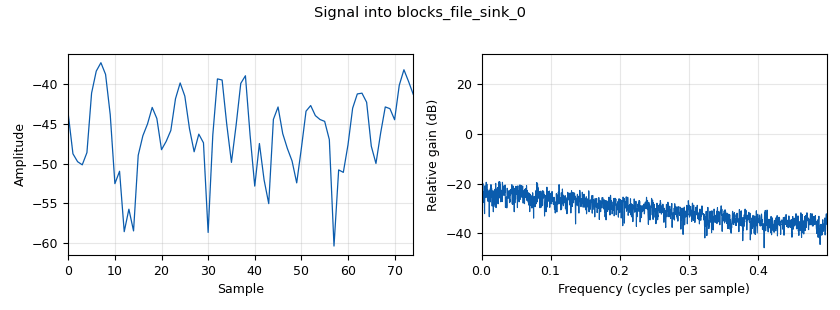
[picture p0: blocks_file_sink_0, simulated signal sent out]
<?xml version='1.0' encoding='utf-8'?>
<?grc format='1' created='3.7.13'?>
<flow_graph>
<block>
<key>options</key>
<param><key>id</key><value>subsistemaRFI</value></param>
<param><key>author</key><value>Luis Miguel Diaz</value></param>
<param><key>description</key><value>Este modulo se encarga de adquirir las senales del espectro</value></param>
<param><key>generate_options</key><value>no_gui</value></param>
<param><key>title</key><value>Adquisicion de datos del espectro</value></param>
</block>
<block>
<key>variable</key>
<param><key>id</key><value>frec_central</value></param>
<param><key>value</key><value>0</value></param>
</block>
<block>
<key>variable</key>
<param><key>id</key><value>ganancia</value></param>
<param><key>value</key><value>0.2</value></param>
</block>
<block>
<key>variable</key>
<param><key>id</key><value>nfft</value></param>
<param><key>value</key><value>1024</value></param>
</block>
<block>
<key>variable</key>
<param><key>id</key><value>samp_rate</value></param>
<param><key>value</key><value>32000</value></param>
</block>
<block>
<key>analog_noise_source_x</key>
<param><key>id</key><value>analog_noise_source_x_0</value></param>
<param><key>amp</key><value>ganancia</value></param>
<param><key>noise_type</key><value>analog.GR_GAUSSIAN</value></param>
<param><key>type</key><value>complex</value></param>
<param><key>seed</key><value>0</value></param>
</block>
<block>
<key>analog_sig_source_x</key>
<param><key>id</key><value>analog_sig_source_x_0</value></param>
<param><key>amp</key><value>1</value></param>
<param><key>freq</key><value>10000</value></param>
<param><key>offset</key><value>0</value></param>
<param><key>type</key><value>complex</value></param>
<param><key>samp_rate</key><value>samp_rate</value></param>
<param><key>waveform</key><value>analog.GR_COS_WAVE</value></param>
</block>
<block>
<key>blocks_add_xx</key>
<param><key>id</key><value>blocks_add_xx_0</value></param>
<param><key>type</key><value>complex</value></param>
</block>
<block>
<key>blocks_file_sink</key>
<param><key>id</key><value>blocks_file_sink_0</value></param>
<param><key>file</key><value>/home/uis-e3t/back_centrotic/CentroTIC/Modulos_aplicaciones/radioastronomia/subsistema_RFI/espectro</value></param>
<param><key>type</key><value>float</value></param>
<param><key>vlen</key><value>nfft</value></param>
</block>
<block>
<key>logpwrfft_x</key>
<param><key>id</key><value>logpwrfft_x_0</value></param>
<param><key>avg_alpha</key><value>1.0</value></param>
<param><key>average</key><value>False</value></param>
<param><key>fft_size</key><value>nfft</value></param>
<param><key>frame_rate</key><value>30</value></param>
<param><key>type</key><value>complex</value></param>
<param><key>ref_scale</key><value>2</value></param>
<param><key>sample_rate</key><value>samp_rate</value></param>
</block>
<connection><source_block_id>analog_noise_source_x_0</source_block_id><sink_block_id>blocks_add_xx_0</sink_block_id><source_key>0</source_key><sink_key>1</sink_key></connection>
<connection><source_block_id>analog_sig_source_x_0</source_block_id><sink_block_id>blocks_add_xx_0</sink_block_id><source_key>0</source_key><sink_key>0</sink_key></connection>
<connection><source_block_id>blocks_add_xx_0</source_block_id><sink_block_id>logpwrfft_x_0</sink_block_id><source_key>0</source_key><sink_key>0</sink_key></connection>
<connection><source_block_id>logpwrfft_x_0</source_block_id><sink_block_id>blocks_file_sink_0</sink_block_id><source_key>0</source_key><sink_key>0</sink_key></connection>
</flow_graph>
